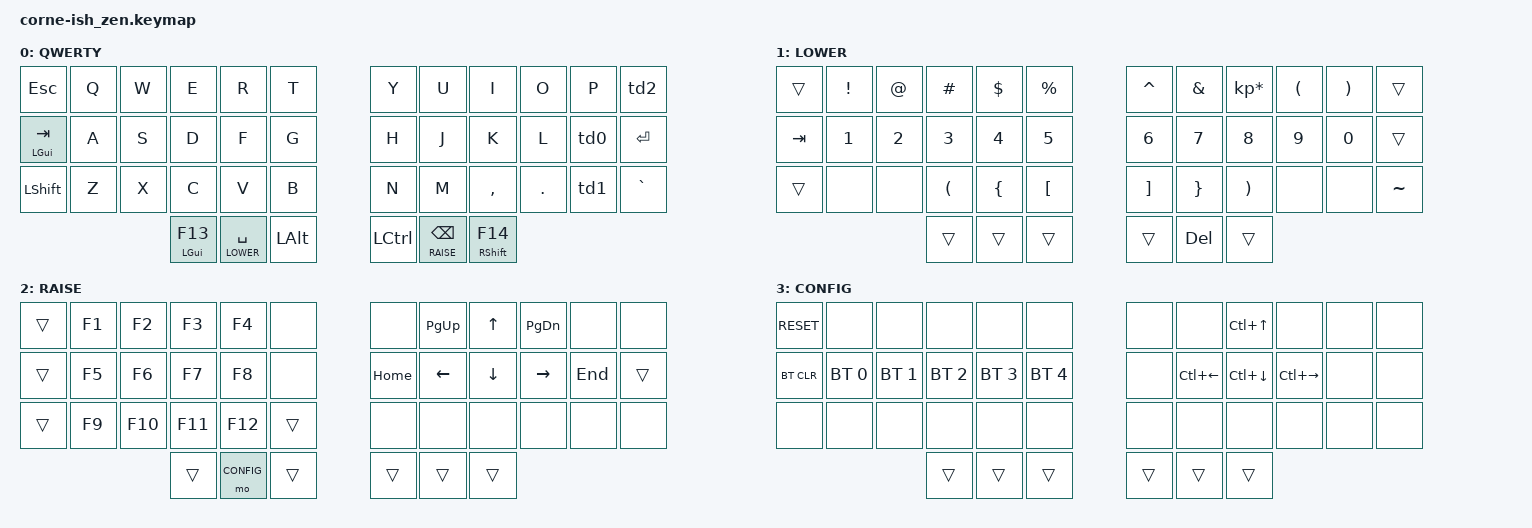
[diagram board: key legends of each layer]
/*
*
* Copyright (c) 2021 Darryl deHaan
* SPDX-License-Identifier: MIT
*
*/

#include <behaviors.dtsi>
#include <dt-bindings/zmk/keys.h>
#include <dt-bindings/zmk/bt.h>

#define QWERTY 0
#define LOWER  1
#define RAISE  2
#define CONFIG 3

/ {
  chosen {
    zmk,matrix_transform = &default_transform;
    //zmk,matrix_transform = &five_column_transform;
  };
};

/ {
        behaviors {
                td0: tap_dance_0 {
                        compatible = "zmk,behavior-tap-dance";
                        label = "TAP_DANCE_SEMI";
                        #binding-cells = <0>;
                        tapping-term-ms = <200>;
                        bindings = <&kp SEMI>, <&kp SQT>;
                };
                td1: tap_dance_1 {
                        compatible = "zmk,behavior-tap-dance";
                        label = "TAP_DANCE_BACKSLASH";
                        #binding-cells = <0>;
                        tapping-term-ms = <200>;
                        bindings = <&kp FSLH>, <&kp BSLH>;
                };
                td2: tap_dance_2 {
                        compatible = "zmk,behavior-tap-dance";
                        label = "TAP_DANCE_EQUAL";
                        #binding-cells = <0>;
                        tapping-term-ms = <200>;
                        bindings = <&kp MINUS>, <&kp EQUAL>;
                };
        };

        keymap {
                compatible = "zmk,keymap";

                default_layer {
                        label = "QWERTY";
// -----------------------------------------------------------------------------------------
// |  TAB |  Q  |  W  |  E  |  R  |  T  |   |  Y  |  U   |  I  |  O  |  P  |  -=  |
// |  GUI |  A  |  S  |  D  |  F  |  G  |   |  H  |  J   |  K  |  L  |  ;' | ENT  |
// | SHFT |  Z  |  X  |  C  |  V  |  B  |   |  N  |  M   |  ,  |  .  |  /\ | ESC  |
//                    | GUI | LWR | SPC |   | CTL | RSE  | ALT |
                        bindings = <
   &kp ESC      &kp Q &kp W &kp E &kp R &kp T   &kp Y &kp U  &kp I     &kp O   &kp P &td2
   &mt LGUI TAB &kp A &kp S &kp D &kp F &kp G   &kp H &kp J  &kp K     &kp L   &td0  &kp RET
   &kp LSHFT    &kp Z &kp X &kp C &kp V &kp B   &kp N &kp M  &kp COMMA &kp DOT &td1  &kp GRAVE
            &mt LGUI F13 &lt LOWER SPACE &kp LALT   &kp LCTRL &lt RAISE BSPC &mt RSHFT F14
                        >;
                };

                lower_layer {
                        label = "LOWER";
// -----------------------------------------------------------------------------------------
// |      |  !  |  @  |  #  |  $  |  %  |   |  ^  |  &  |  *  |  (  |  )  |     |
// |  TAB |  1  |  2  |  3  |  4  |  5  |   |  6  |  7  |  8  |  9  |  0  |     |
// |      |     |     |  (  |  {  |  [  |   |  ]  |  }  |  )  |     |     |  ~  |
//                    |     |     |     |   | DEL |     |     |
                        bindings = <
   &trans  &kp EXCL &kp AT &kp HASH &kp DLLR &kp PRCNT   &kp CARET &kp AMPS &kp KP_MULTIPLY &kp LPAR &kp RPAR &trans
   &kp TAB &kp N1   &kp N2 &kp N3   &kp N4   &kp N5      &kp N6    &kp N7   &kp N8          &kp N9   &kp N0   &trans
   &trans  &none    &none  &kp LPAR &kp LBRC &kp LBKT    &kp RBKT  &kp RBRC &kp RPAR        &none    &none    &kp TILDE
                           &trans   &trans   &trans      &trans    &kp DEL  &trans
                        >;
                };

                raise_layer {
                        label = "RAISE";
// -----------------------------------------------------------------------------------------
// |      |  F1 |  F2 |  F3 |  F4 |     |   |     | PGUP|  UP | PGDN|     |      |
// |      |  F5 |  F6 |  F7 |  F8 |     |   | HOME| LEFT|  DN | RGHT| END |      |
// |      |  F9 | F10 | F11 | F12 |     |   |     |     |     |     |     |      |
//                    |     | CFG |     |   |     |     |     |
                        bindings = <
   &trans &kp F1 &kp F2  &kp F3  &kp F4     &none    &none    &kp PG_UP  &kp UP   &kp PG_DN &none   &none
   &trans &kp F5 &kp F6  &kp F7  &kp F8     &none    &kp HOME &kp LEFT   &kp DOWN &kp RIGHT &kp END &trans
   &trans &kp F9 &kp F10 &kp F11 &kp F12    &trans   &none    &none      &none    &none     &none   &none
                         &trans  &mo CONFIG &trans   &trans   &trans     &trans
                        >;
                };

                config_layer {
                        label = "CONFIG";
// -----------------------------------------------------------------------------------------
// | RESET|     |     |     |     |     |   |     |     | MCTL|     |     |      |
// | BTCTL| BT1 | BT2 | BT3 | BT4 | BT5 |   |     | SCRL| EXPS| SCRR|     |      |
// |      |     |     |     |     |     |   |     |     |     |     |     |      |
//                    |     |     |     |   |     |     |     |
                        bindings = <
   &kp C_RESET &none        &none        &none        &none        &none          &none  &none        &kp LC(UP)   &none         &none &none
   &bt BT_CLR  &bt BT_SEL 0 &bt BT_SEL 1 &bt BT_SEL 2 &bt BT_SEL 3 &bt BT_SEL 4   &none  &kp LC(LEFT) &kp LC(DOWN) &kp LC(RIGHT) &none &none
   &none       &none        &none        &none        &none        &none          &none  &none        &none        &none         &none &none
                                         &trans       &trans       &trans         &trans     &trans   &trans
                        >;
                };
        };
};
